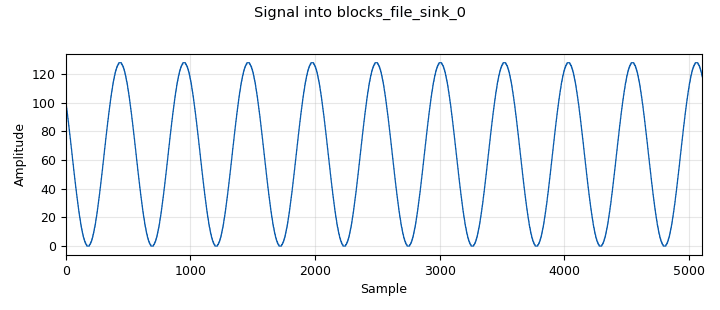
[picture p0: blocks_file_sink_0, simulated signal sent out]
options:
  parameters:
    author: kesenheimer
    generate_options: qt_gui
    id: video_sdl_test
    output_language: python
    realtime_scheduling: '1'
    title: Not titled yet
  states: {}

blocks:
- name: samp_rate
  id: variable
  parameters:
    value: '9216000'
  states: {}
- name: analog_random_source_x_0
  id: analog_random_source_x
  parameters:
    max: '255'
    min: '0'
    num_samps: '1000'
    repeat: 'True'
    type: short
  states: {state: disabled}
- name: analog_sig_source_x_0
  id: analog_sig_source_x
  parameters:
    amp: '1'
    freq: update_rate*periods_per_row*num_rows
    offset: '1'
    phase: '0'
    samp_rate: update_rate*vector_length*num_rows
    type: float
    waveform: analog.GR_COS_WAVE
  states: {}
- name: blocks_file_sink_0
  id: blocks_file_sink
  parameters:
    append: 'True'
    file: /Users/kesenheimer/stdout
    type: short
    unbuffered: 'True'
  states: {}
- name: blocks_float_to_short_0
  id: blocks_float_to_short
  parameters:
    scale: 2**6
  states: {}
- name: blocks_throttle2_0
  id: blocks_throttle2
  parameters:
    limit: time
    maximum: 0.25/update_rate
    samples_per_second: update_rate*vector_length*num_rows
    type: short
  states: {}
- name: num_rows
  id: parameter
  parameters:
    label: Number of Rows
    short_id: n
    type: intx
    value: '512'
  states: {}
- name: periods_per_row
  id: parameter
  parameters:
    label: Periods per Row
    short_id: p
    type: eng_float
    value: 1-1/255
  states: {}
- name: update_rate
  id: parameter
  parameters:
    label: Update Rate
    short_id: r
    type: intx
    value: '25'
  states: {}
- name: vector_length
  id: parameter
  parameters:
    label: Vector Length
    short_id: l
    type: intx
    value: '512'
  states: {}

connections:
- [analog_random_source_x_0, '0', blocks_throttle2_0, '0']
- [analog_sig_source_x_0, '0', blocks_float_to_short_0, '0']
- [blocks_float_to_short_0, '0', blocks_throttle2_0, '0']
- [blocks_throttle2_0, '0', blocks_file_sink_0, '0']

metadata:
  file_format: 1
  grc_version: 3.10.8.0
